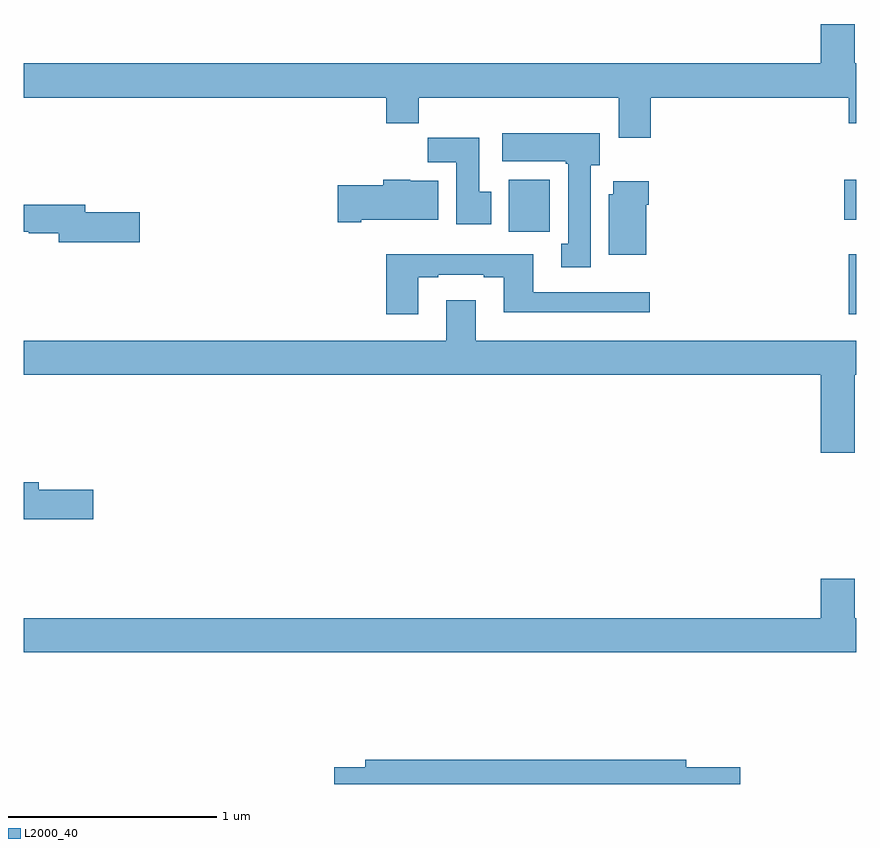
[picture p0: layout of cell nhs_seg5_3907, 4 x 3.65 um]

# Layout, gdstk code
import gdstk
lib = gdstk.Library(unit=1e-6, precision=1e-09)
def R(c, l, rs):  # rectangles x0, y0, x1, y1
    for r in rs: c.add(gdstk.rectangle(r[:2], r[2:], *l))
def P(c, l, *ps):  # polygons
    for p in ps: c.add(gdstk.Polygon(p, *l))
L2000_40 = (2000, 40)

nhs_seg5_3907 = lib.new_cell('nhs_seg5_3907')
R(nhs_seg5_3907, L2000_40, [(344.963,853.056,345,853.342), (343.331,853.452,343.527,853.702), (344.942,853.508,345,853.702)])
P(nhs_seg5_3907, L2000_40, [(344.012,854.096),(344.963,854.096),(344.963,853.972),(345,853.972),(345,854.26),(344.992,854.26),(344.992,854.449),(344.828,854.449),(344.828,854.26),(341,854.26),(341,854.096),(342.743,854.096),(342.743,853.972),(342.899,853.972),(342.899,854.096),(343.859,854.096),(343.859,853.902),(344.012,853.902)],
  [(343.723,853.77),(343.768,853.77),(343.768,853.924),(343.299,853.924),(343.299,853.79),(343.603,853.79),(343.603,853.777),(343.616,853.777),(343.616,853.393),(343.583,853.393),(343.583,853.281),(343.723,853.281)],
  [(343.246,853.644),(343.189,853.644),(343.189,853.903),(342.94,853.903),(342.94,853.784),(343.079,853.784),(343.079,853.488),(343.246,853.488)],
  [(342.622,853.508),(342.991,853.508),(342.991,853.696),(342.858,853.696),(342.858,853.702),(342.728,853.702),(342.728,853.674),(342.51,853.674),(342.51,853.496),(342.622,853.496)],
  [(343.99,853.58),(344.003,853.58),(344.003,853.693),(343.832,853.693),(343.832,853.632),(343.811,853.632),(343.811,853.34),(343.99,853.34)],
  [(341.557,853.544),(341.296,853.544),(341.296,853.58),(341,853.58),(341,853.452),(341.025,853.452),(341.025,853.444),(341.168,853.444),(341.168,853.402),(341.557,853.402)],
  [(342.895,853.233),(342.991,853.233),(342.991,853.245),(343.211,853.245),(343.211,853.233),(343.307,853.233),(343.307,853.064),(344.008,853.064),(344.008,853.161),(343.447,853.161),(343.447,853.342),(342.743,853.342),(342.743,853.056),(342.895,853.056)],
  [(344.992,852.764),(345,852.764),(345,852.928),(343.171,852.928),(343.171,853.123),(343.031,853.123),(343.031,852.928),(341,852.928),(341,852.764),(344.828,852.764),(344.828,852.39),(344.992,852.39)],
  [(341.335,852.212),(341.074,852.212),(341.074,852.248),(341,852.248),(341,852.07),(341.335,852.07)],
  [(345,851.596),(344.992,851.596),(344.992,851.785),(344.828,851.785),(344.828,851.596),(341,851.596),(341,851.432),(345,851.432)],
  [(344.443,850.88),(344.182,850.88),(344.182,850.916),(342.641,850.916),(342.641,850.88),(342.492,850.88),(342.492,850.799),(344.443,850.799)])

lib.write_gds('nhs_seg5_3907.gds')
